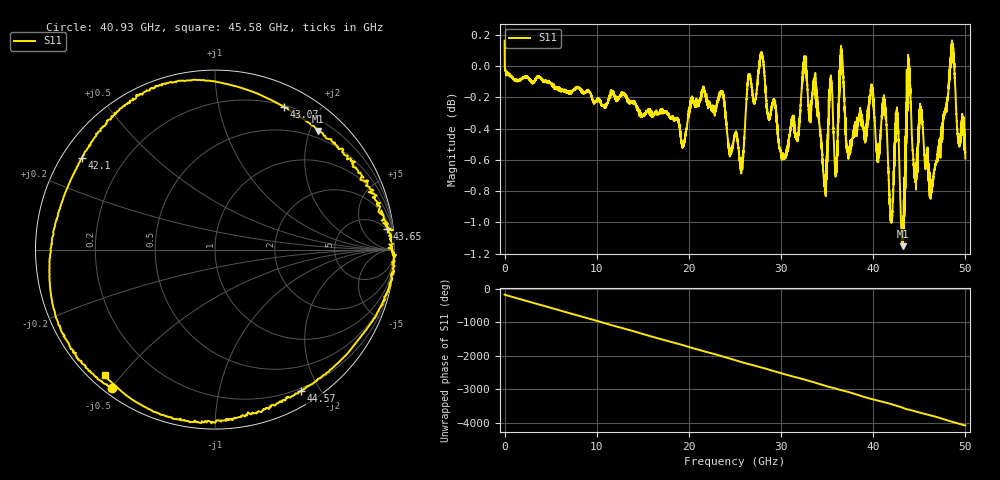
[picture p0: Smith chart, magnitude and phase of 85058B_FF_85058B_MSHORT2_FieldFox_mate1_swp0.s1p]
!Created with skrf (http://scikit-rf.org).
# Hz S RI R 50.0
!freq ReS11 ImS11
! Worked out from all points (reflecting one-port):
!   10001 points, 300 kHz to 50 GHz, reference 50 ohm
!   lowest |S11| = -1.2 dB at 43.21 GHz (marker M1), VSWR 15.10, Z = 18.9 + j107 ohm
!   phase of S11 starts at -175 deg and turns -3902 deg over the sweep
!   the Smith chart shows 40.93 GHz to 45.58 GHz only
!   S11 on the Smith chart (normalised r, x): 40.93 GHz: 0.02, -0.50; 42.1 GHz: 0.06, +0.31; 43.07 GHz: 0.22, +1.57; 43.65 GHz: 4, +15; 44.57 GHz: 0.17, -1.77; 45.58 GHz: 0.04, -0.45
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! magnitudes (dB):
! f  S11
! 300 kHz  0.2
! 6.25 GHz  -0.2
! 12.5 GHz  -0.2
! 18.75 GHz  -0.3
! 25 GHz  -0.4
! 25.73 GHz  -0.6
! 26.46 GHz  -0.1
! 27.86 GHz  0.1
! 30.06 GHz  -0.6
! 31.25 GHz  -0.3
! 32.59 GHz  0.1
! 34.74 GHz  -0.7
! 35.38 GHz  -0.1
! 35.97 GHz  -0.7
! 36.58 GHz  0.1
! 37.5 GHz  -0.5
! 40.93 GHz  -0.3
! 42.1 GHz  -0.9
! 42.58 GHz  -0.3
! 43.07 GHz  -1.1
! 43.21 GHz  -1.2
! 43.65 GHz  -0.3
! 43.75 GHz  -0.1
! 44.57 GHz  -0.7
! 45.58 GHz  -0.6
! 46.4 GHz  -0.8
! 48.56 GHz  0.1
! 50 GHz  -0.6
